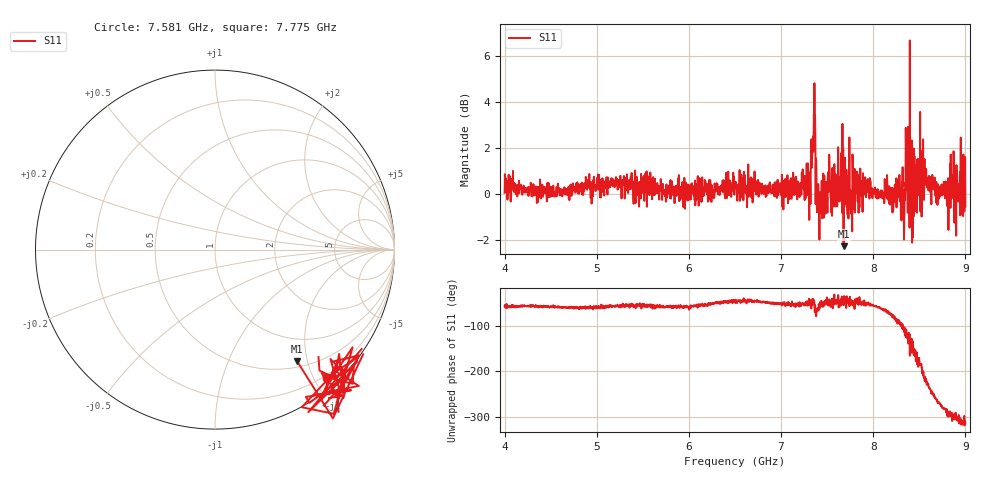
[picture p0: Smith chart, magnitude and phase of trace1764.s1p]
! Created with skrf 1.8.0 (http://scikit-rf.org).
# Hz S RI R 50.0
!freq ReS11 ImS11
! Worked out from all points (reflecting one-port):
!   1601 points, 4 GHz to 9 GHz, reference 50 ohm
!   lowest |S11| = -2.2 dB at 7.678 GHz (marker M1), VSWR 7.77, Z = 29.7 - j91.3 ohm
!   phase of S11 starts at -57 deg and turns -256 deg over the sweep
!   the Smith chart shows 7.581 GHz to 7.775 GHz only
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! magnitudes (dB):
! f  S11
! 4 GHz  0.1
! 4.625 GHz  -0.1
! 5.25 GHz  0.4
! 5.875 GHz  0.0
! 6.5 GHz  0.5
! 7.125 GHz  0.5
! 7.294 GHz  -0.1
! 7.325 GHz  1.2
! 7.347 GHz  2.5
! 7.369 GHz  3.4
! 7.412 GHz  -0.1
! 7.509 GHz  0.9
! 7.562 GHz  -0.5
! 7.678 GHz  -2.2
! 7.75 GHz  -0.4
! 7.775 GHz  1.7
! 7.822 GHz  0.0
! 8.097 GHz  0.1
! 8.259 GHz  0.6
! 8.312 GHz  0.5
! 8.35 GHz  0.4
! 8.375 GHz  -0.8
! 8.422 GHz  -2.1
! 8.425 GHz  -0.7
! 8.522 GHz  1.9
! 8.706 GHz  0.1
! 8.972 GHz  0.2
! 9 GHz  -0.5
